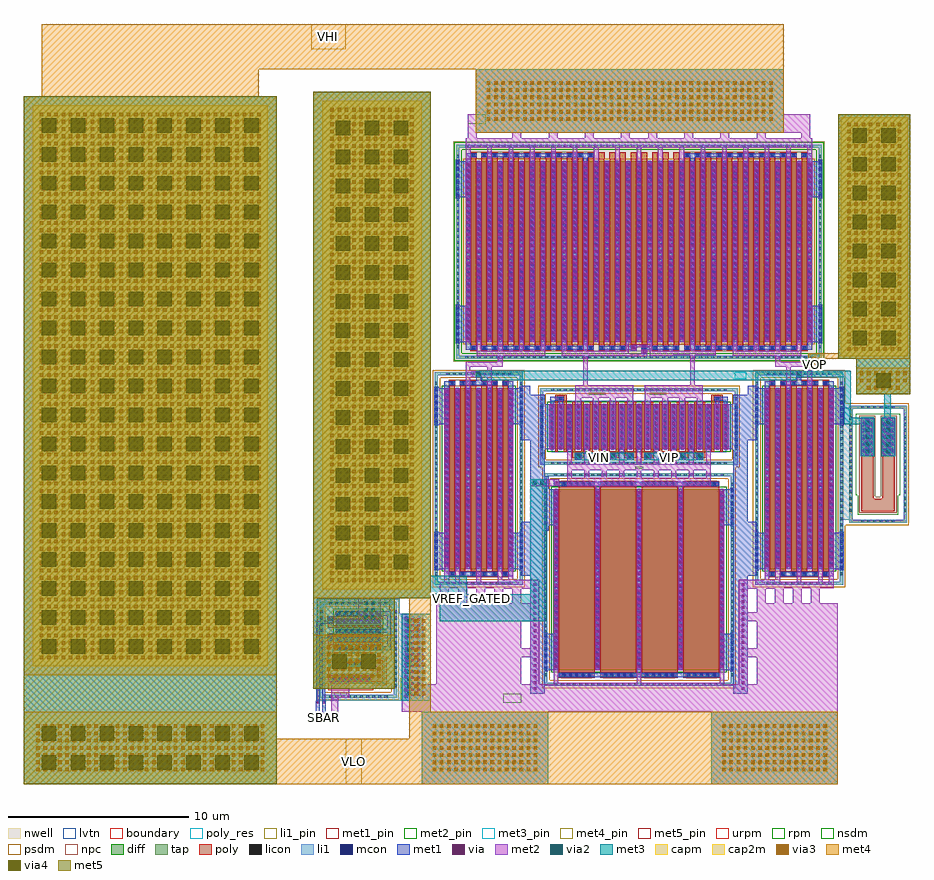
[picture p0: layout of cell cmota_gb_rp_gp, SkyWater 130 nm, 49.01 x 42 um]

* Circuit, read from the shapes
.subckt cmota_gb_rp_gp S SBAR VHI VIN VIP VLO VOP VREF VREF_GATED
XM1 VLO SBAR n1 VLO sky130_fd_pr__nfet_01v8 w=2.5 l=0.15 m=2
XM2 VREF_GATED S n1 VLO sky130_fd_pr__nfet_01v8 w=2.5 l=0.15 m=2
XM3 VLO VLO VLO VLO sky130_fd_pr__nfet_01v8 w=10 l=0.3 m=4
XM4 cmota_gb_rp_1/VMN cmota_gb_rp_1/VMN VLO VLO sky130_fd_pr__nfet_01v8 w=10 l=0.3 m=4
XM5 VLO VLO VLO VLO sky130_fd_pr__nfet_01v8_lvt w=2.5 l=0.15 m=2
XM6 cmota_gb_rp_1/COM VREF_GATED VLO VLO sky130_fd_pr__nfet_01v8 w=10 l=2 m=4
XM7 cmota_gb_rp_1/COM VLO VLO VLO sky130_fd_pr__nfet_01v8_lvt w=2.5 l=0.15 m=2
XM8 cmota_gb_rp_1/DN VIN cmota_gb_rp_1/COM VLO sky130_fd_pr__nfet_01v8_lvt w=2.5 l=0.15 m=8
XM9 cmota_gb_rp_1/DP VIP cmota_gb_rp_1/COM VLO sky130_fd_pr__nfet_01v8_lvt w=2.5 l=0.15 m=8
XM10 VOP cmota_gb_rp_1/VMN VLO VLO sky130_fd_pr__nfet_01v8 w=10 l=0.3 m=4
XM11 cmota_gb_rp_1/VMN VHI VHI VHI sky130_fd_pr__pfet_01v8 w=10 l=0.3
XM12 VHI cmota_gb_rp_1/DN cmota_gb_rp_1/VMN VHI sky130_fd_pr__pfet_01v8 w=10 l=0.3 m=7
XM13 cmota_gb_rp_1/DN cmota_gb_rp_1/DN VHI VHI sky130_fd_pr__pfet_01v8 w=10 l=0.3 m=4
XM14 n2 cmota_gb_rp_1/DP VHI VHI sky130_fd_pr__pfet_01v8 w=10 l=0.3 m=2
XM15 cmota_gb_rp_1/DN cmota_gb_rp_1/DP VHI VHI sky130_fd_pr__pfet_01v8 w=10 l=0.3 m=2
XM16 cmota_gb_rp_1/DP cmota_gb_rp_1/DN VHI VHI sky130_fd_pr__pfet_01v8 w=10 l=0.3 m=2
XM17 n3 cmota_gb_rp_1/DN VHI VHI sky130_fd_pr__pfet_01v8 w=10 l=0.3 m=2
XM18 cmota_gb_rp_1/DP cmota_gb_rp_1/DP VHI VHI sky130_fd_pr__pfet_01v8 w=10 l=0.3 m=4
XM19 VOP cmota_gb_rp_1/DP VHI VHI sky130_fd_pr__pfet_01v8 w=10 l=0.3 m=7
XM20 VHI VHI VOP VHI sky130_fd_pr__pfet_01v8 w=10 l=0.3
XC21 VHI VLO sky130_fd_pr__cap_mim_m3_1 w=13 l=31
XC22 VLO VHI sky130_fd_pr__cap_mim_m3_2 w=13 l=31
XC23 VLO VREF_GATED sky130_fd_pr__cap_mim_m3_1 w=5.5 l=27
XC24 VREF_GATED VLO sky130_fd_pr__cap_mim_m3_2 w=5.5 l=27
XC25 VOP n4 sky130_fd_pr__cap_mim_m3_1 w=3.7 l=13.2
XC26 n4 VOP sky130_fd_pr__cap_mim_m3_2 w=3.7 l=13.2
XR27 VREF n1 VLO sky130_fd_pr__res_xhigh_po w=0.35 l=1.84
XR28 cmota_gb_rp_1/VMN n4 VLO sky130_fd_pr__res_high_po w=0.69 l=6.52
.ends

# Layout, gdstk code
from math import pi, radians
import gdstk
lib = gdstk.Library(unit=1e-6, precision=1e-09)
def R(c, l, rs):  # rectangles x0, y0, x1, y1
    for r in rs: c.add(gdstk.rectangle(r[:2], r[2:], *l))
def A(c, l, x, y, w, h, nx, ny, dx, dy):  # array of equal rectangles
    R(c, l, [(x+i*dx, y+j*dy, x+i*dx+w, y+j*dy+h) for i in range(nx) for j in range(ny)])
nwell = (64, 20)
diff = (65, 20)
tap = (65, 44)
poly_res = (66, 13)
poly = (66, 20)
licon = (66, 44)
li1_pin = (67, 16)
li1 = (67, 20)
mcon = (67, 44)
met1_pin = (68, 16)
met1 = (68, 20)
via = (68, 44)
met2_pin = (69, 16)
met2 = (69, 20)
via2 = (69, 44)
met3_pin = (70, 16)
met3 = (70, 20)
via3 = (70, 44)
met4_pin = (71, 16)
met4 = (71, 20)
via4 = (71, 44)
met5_pin = (72, 16)
met5 = (72, 20)
urpm = (79, 20)
rpm = (86, 20)
capm = (89, 44)
nsdm = (93, 44)
psdm = (94, 20)
npc = (95, 20)
cap2m = (97, 44)
lvtn = (125, 44)
boundary = (235, 4)

gated_iref = lib.new_cell('gated_iref')
R(gated_iref, diff, [(8.1,0.75,10.31,3.25)])
R(gated_iref, tap, [(5.51,-0.12,10.82,0.05), (5.51,0.05,5.68,3.95), (10.65,0.05,10.82,3.95), (5.51,3.95,10.82,4.12)])
R(gated_iref, poly_res, [(6.39,2.63,6.74,3.02), (7.22,2.63,7.57,3.02), (6.39,3.02,7.57,3.37)])
A(gated_iref, poly, 8.41, 0.64, 0.15, 2.74, 4, 1, 0.48, 0)
R(gated_iref, poly, [(8.41,0.31,9.04,0.64), (9.37,0.31,10,0.64), (6.39,0.53,6.74,3.02), (7.22,0.53,7.57,3.02), (6.39,3.02,7.57,3.37)])
A(gated_iref, licon, 6.09, -0.12, 0.17, 0.17, 13, 2, 0.34, 4.07)
A(gated_iref, licon, 5.51, 0.385, 0.17, 0.17, 1, 10, 0, 0.34)
A(gated_iref, licon, 10.65, 0.385, 0.17, 0.17, 1, 10, 0, 0.34)
A(gated_iref, licon, 8.16, 0.895, 0.17, 0.17, 5, 7, 0.48, 0.34)
R(gated_iref, licon, [(8.79,0.39,8.96,0.56), (9.75,0.39,9.92,0.56), (6.47,0.61,6.66,2.61), (7.3,0.61,7.49,2.61)])
R(gated_iref, li1_pin, [(5.34,4.31,6.62,4.4)])
A(gated_iref, li1, 9.12, 0.73, 0.17, 2.54, 3, 1, 0.48, 0)
R(gated_iref, li1, [(5.34,-0.29,10.99,0.05), (5.34,0.05,5.68,3.95), (10.65,0.05,10.99,3.95), (6.39,0.335,6.74,2.69), (7.22,0.335,8.33,0.59), (8.71,0.39,9.04,0.56), (9.67,0.39,10,0.56), (7.22,0.59,7.57,2.69), (8.16,0.59,8.33,3.27), (8.64,0.73,8.81,3.95), (5.34,3.95,10.99,4.29), (5.34,4.29,10.14,4.9)])
A(gated_iref, mcon, 6.48, 0.545, 0.17, 0.17, 1, 6, 0, 0.36)
A(gated_iref, mcon, 8.16, 0.835, 0.17, 0.17, 5, 7, 0.48, 0.36)
A(gated_iref, mcon, 5.495, 4.565, 0.17, 0.17, 13, 1, 0.36, 0)
R(gated_iref, mcon, [(8.79,0.39,8.96,0.56), (9.75,0.39,9.92,0.56)])
R(gated_iref, met1_pin, [(5.2,-0.31,5.32,-0.15), (5.2,0,5.32,0.16)])
A(gated_iref, met1, 8.13, 0.75, 0.23, 2.84, 3, 1, 0.96, 0)
R(gated_iref, met1, [(5.195,-0.315,9.77,-0.145), (9.6,-0.145,9.77,0.36), (5.19,-0.005,8.81,0.165), (8.64,0.165,8.81,0.36), (6.39,0.335,6.74,2.69), (8.64,0.36,9.04,0.59), (9.6,0.36,10,0.59), (9.555,0.745,9.815,3.25), (8.61,0.75,8.84,3.25), (8.13,3.59,10.28,3.79), (5.34,4.4,10.14,5.6)])
A(gated_iref, via, 6.49, 0.645, 0.15, 0.15, 1, 6, 0, 0.32)
A(gated_iref, via, 9.61, 0.965, 0.15, 0.15, 1, 7, 0, 0.32)
A(gated_iref, via, 5.585, 4.605, 0.15, 0.15, 14, 3, 0.32, 0.32)
R(gated_iref, met2_pin, [(5.5,0.5,5.79,1.5)])
R(gated_iref, met2, [(6.39,0.335,6.74,0.5), (5.5,0.5,6.74,1.5), (9.555,0.745,9.815,2), (6.39,1.5,6.74,2.69), (9.555,2,10.995,3.25), (5.34,4.4,10.14,5.6)])
A(gated_iref, via2, 9.85, 2.325, 0.2, 0.2, 3, 2, 0.4, 0.4)
A(gated_iref, via2, 5.64, 4.7, 0.2, 0.2, 11, 2, 0.4, 0.4)
R(gated_iref, met3, [(6,-0.5,39,4), (11,4,39,6), (5.34,4.4,10.14,6)])
A(gated_iref, via3, 6.6, 0.25, 0.2, 0.2, 5, 8, 0.4, 0.4)
A(gated_iref, via3, 11.9, 0.45, 0.2, 0.2, 66, 12, 0.4, 0.4)
A(gated_iref, via3, 5.64, 5.1, 0.2, 0.2, 11, 2, 0.4, 0.4)
R(gated_iref, met4, [(6,-0.5,9,4), (11,-0.5,39,4.8), (5.34,4.8,39,6)])
A(gated_iref, via4, 12.6, 0.75, 0.8, 0.8, 16, 3, 1.6, 1.6)
R(gated_iref, via4, [(7.1,0.55,7.9,1.35), (7.1,2.15,7.9,2.95)])
R(gated_iref, met5_pin, [(10.35,3.7,10.99,3.99)])
R(gated_iref, met5, [(6,-0.5,39,4), (11,4,39,6)])
R(gated_iref, urpm, [(5.93,0.33,8.03,2.82), (6.19,2.82,7.77,3.57)])
R(gated_iref, capm, [(11.5,0,38.5,5.5)])
R(gated_iref, nsdm, [(7.975,0.625,10.435,3.375)])
R(gated_iref, psdm, [(5.385,-0.245,10.945,0.175), (5.385,0.175,5.805,3.825), (6.28,0.175,7.68,3.825), (10.525,0.175,10.945,3.825), (5.385,3.825,10.945,4.245)])
R(gated_iref, npc, [(8.69,0.29,9.06,0.66), (9.65,0.29,10.02,0.66), (6.295,0.435,6.835,2.925), (7.125,0.435,7.665,2.925), (6.295,2.925,7.665,3.465)])
R(gated_iref, cap2m, [(11.5,0,38.5,5.5)])
gated_iref.add(gdstk.Label('IN', (5.645,1), layer=69, texttype=16))
gated_iref.add(gdstk.Label('VSUB', (5.98,4.355), layer=67, texttype=16))
gated_iref.add(gdstk.Label('OUT', (10.67,3.845), layer=72, texttype=16))
gated_iref.add(gdstk.Label('SBAR', (5.26,0.08), layer=68, texttype=16))
gated_iref.add(gdstk.Label('S', (5.26,-0.23), layer=68, texttype=16))

sky130_fd_pr__res_high_p = lib.new_cell('sky130_fd_pr__res_high_po_0p69_G8QCSG')
R(sky130_fd_pr__res_high_p, tap, [(-1.58,-3.24,1.58,-3.07), (-1.58,-3.07,-1.41,3.07), (1.41,-3.07,1.58,3.07), (-1.58,3.07,1.58,3.24)])
R(sky130_fd_pr__res_high_p, poly_res, [(-0.93,-0.49,-0.24,1.9), (0.24,-0.49,0.93,1.9), (-0.93,1.9,0.93,2.59)])
R(sky130_fd_pr__res_high_p, poly, [(-0.93,-2.59,-0.24,1.9), (0.24,-2.59,0.93,1.9), (-0.93,1.9,0.93,2.59)])
A(sky130_fd_pr__res_high_p, licon, -0.935, -3.24, 0.17, 0.17, 6, 2, 0.34, 6.31)
A(sky130_fd_pr__res_high_p, licon, -1.58, -2.635, 0.17, 0.17, 1, 16, 0, 0.34)
A(sky130_fd_pr__res_high_p, licon, 1.41, -2.635, 0.17, 0.17, 1, 16, 0, 0.34)
R(sky130_fd_pr__res_high_p, licon, [(-0.68,-2.51,-0.49,-0.51), (0.49,-2.51,0.68,-0.51)])
R(sky130_fd_pr__res_high_p, li1, [(-1.58,-3.24,1.58,-3.07), (-1.58,-3.07,-1.41,3.07), (1.41,-3.07,1.58,3.07), (-0.93,-2.59,-0.24,-0.43), (0.24,-2.59,0.93,-0.43), (-1.58,3.07,1.58,3.24)])
R(sky130_fd_pr__res_high_p, rpm, [(-1.22,-2.79,1.22,1.7), (-1.13,1.7,1.13,2.79)])
R(sky130_fd_pr__res_high_p, psdm, [(-1.705,-3.365,1.705,3.365)])
R(sky130_fd_pr__res_high_p, npc, [(-1.025,-2.685,-0.145,1.805), (0.145,-2.685,1.025,1.805), (-1.025,1.805,1.025,2.685)])
R(sky130_fd_pr__res_high_p, boundary, [(-1.49,-3.15,1.49,3.15)])

cmota_gb_rp = lib.new_cell('cmota_gb_rp')
R(cmota_gb_rp, nwell, [(2.725,0.33,23.275,12.52)])
R(cmota_gb_rp, diff, [(8.275,-16.7,17.725,-6.7), (2.23,-11.12,6.06,-1.12), (19.935,-11.12,23.765,-1.12), (8.055,-4.5,17.945,-2), (3.415,1.425,22.585,11.425)])
R(cmota_gb_rp, tap, [(7.765,-17.57,18.235,-17.4), (7.765,-17.4,7.935,-6), (18.065,-17.4,18.235,-6), (1.72,-11.99,6.57,-11.82), (19.425,-11.99,24.275,-11.82), (1.72,-11.82,1.89,-0.42), (6.4,-11.82,6.57,-0.42), (19.425,-11.82,19.595,-0.42), (24.105,-11.82,24.275,-0.42), (7.765,-6,18.235,-5.83), (7.545,-5.37,18.455,-5.2), (7.545,-5.2,7.715,-1.3), (18.285,-5.2,18.455,-1.3), (7.545,-1.3,18.455,-1.13), (1.72,-0.42,6.57,-0.25), (19.425,-0.42,24.275,-0.25), (2.905,0.51,23.095,0.68), (2.905,0.68,3.075,12.17), (22.925,0.68,23.095,12.17), (2.905,12.17,23.095,12.34)])
A(cmota_gb_rp, poly, 8.565, -17.14, 2, 10.88, 4, 1, 2.29, 0)
A(cmota_gb_rp, poly, 2.505, -11.56, 0.33, 0.33, 6, 2, 0.59, 10.55)
A(cmota_gb_rp, poly, 20.21, -11.56, 0.33, 0.33, 6, 2, 0.59, 10.55)
A(cmota_gb_rp, poly, 2.52, -11.23, 0.3, 10.22, 6, 1, 0.59, 0)
A(cmota_gb_rp, poly, 20.225, -11.23, 0.3, 10.22, 6, 1, 0.59, 0)
A(cmota_gb_rp, poly, 9.325, -5, 0.63, 0.39, 8, 1, 0.96, 0)
A(cmota_gb_rp, poly, 9.325, -4.61, 0.15, 2.74, 16, 1, 0.48, 0)
A(cmota_gb_rp, poly, 3.69, 0.94, 0.33, 0.33, 32, 2, 0.59, 10.64)
A(cmota_gb_rp, poly, 3.705, 1.27, 0.3, 10.31, 32, 1, 0.59, 0)
R(cmota_gb_rp, poly, [(8.365,-4.63,8.515,-1.87), (8.845,-4.63,8.995,-1.87), (17.005,-4.63,17.155,-1.87), (17.485,-4.63,17.635,-1.87), (8.365,-1.87,8.995,-1.48), (17.005,-1.87,17.635,-1.48)])
A(cmota_gb_rp, licon, 8.325, -17.57, 0.17, 0.17, 28, 2, 0.34, 11.57)
A(cmota_gb_rp, licon, 8.8, -17.06, 0.17, 0.17, 5, 2, 0.34, 10.55)
A(cmota_gb_rp, licon, 11.09, -17.06, 0.17, 0.17, 5, 2, 0.34, 10.55)
A(cmota_gb_rp, licon, 13.38, -17.06, 0.17, 0.17, 5, 2, 0.34, 10.55)
A(cmota_gb_rp, licon, 15.67, -17.06, 0.17, 0.17, 5, 2, 0.34, 10.55)
A(cmota_gb_rp, licon, 7.765, -17.055, 0.17, 0.17, 1, 32, 0, 0.34)
A(cmota_gb_rp, licon, 18.065, -17.055, 0.17, 0.17, 1, 32, 0, 0.34)
A(cmota_gb_rp, licon, 8.335, -16.545, 0.17, 0.17, 5, 29, 2.29, 0.34)
A(cmota_gb_rp, licon, 2.36, -11.99, 0.17, 0.17, 11, 2, 0.34, 11.57)
A(cmota_gb_rp, licon, 20.065, -11.99, 0.17, 0.17, 11, 2, 0.34, 11.57)
A(cmota_gb_rp, licon, 2.585, -11.48, 0.17, 0.17, 6, 2, 0.59, 10.55)
A(cmota_gb_rp, licon, 20.29, -11.48, 0.17, 0.17, 6, 2, 0.59, 10.55)
A(cmota_gb_rp, licon, 1.72, -11.475, 0.17, 0.17, 1, 32, 0, 0.34)
A(cmota_gb_rp, licon, 6.4, -11.475, 0.17, 0.17, 1, 32, 0, 0.34)
A(cmota_gb_rp, licon, 19.425, -11.475, 0.17, 0.17, 1, 32, 0, 0.34)
A(cmota_gb_rp, licon, 24.105, -11.475, 0.17, 0.17, 1, 32, 0, 0.34)
A(cmota_gb_rp, licon, 2.29, -10.965, 0.17, 0.17, 7, 29, 0.59, 0.34)
A(cmota_gb_rp, licon, 19.995, -10.965, 0.17, 0.17, 7, 29, 0.59, 0.34)
A(cmota_gb_rp, licon, 8.155, -5.37, 0.17, 0.17, 29, 2, 0.34, 4.07)
A(cmota_gb_rp, licon, 9.555, -4.92, 0.17, 0.17, 8, 1, 0.96, 0)
A(cmota_gb_rp, licon, 7.545, -4.865, 0.17, 0.17, 1, 10, 0, 0.34)
A(cmota_gb_rp, licon, 18.285, -4.865, 0.17, 0.17, 1, 10, 0, 0.34)
A(cmota_gb_rp, licon, 8.115, -4.355, 0.17, 0.17, 21, 7, 0.48, 0.34)
A(cmota_gb_rp, licon, 3.395, 0.51, 0.17, 0.17, 57, 2, 0.34, 11.66)
A(cmota_gb_rp, licon, 3.77, 1.02, 0.17, 0.17, 32, 1, 0.59, 0)
A(cmota_gb_rp, licon, 2.905, 1.07, 0.17, 0.17, 1, 32, 0, 0.34)
A(cmota_gb_rp, licon, 22.925, 1.07, 0.17, 0.17, 1, 32, 0, 0.34)
A(cmota_gb_rp, licon, 3.475, 1.58, 0.17, 0.17, 33, 29, 0.59, 0.34)
A(cmota_gb_rp, licon, 3.77, 11.66, 0.17, 0.17, 12, 1, 0.59, 0)
A(cmota_gb_rp, licon, 15.57, 11.66, 0.17, 0.17, 12, 1, 0.59, 0)
R(cmota_gb_rp, licon, [(8.595,-1.79,8.765,-1.62), (17.235,-1.79,17.405,-1.62)])
A(cmota_gb_rp, li1, 8.565, -17.06, 2, 0.17, 4, 2, 2.29, 10.55)
A(cmota_gb_rp, li1, 8.335, -16.72, 0.17, 10.04, 5, 1, 2.29, 0)
A(cmota_gb_rp, li1, 2.505, -11.48, 0.33, 0.17, 6, 2, 0.59, 10.55)
A(cmota_gb_rp, li1, 20.21, -11.48, 0.33, 0.17, 6, 2, 0.59, 10.55)
A(cmota_gb_rp, li1, 2.29, -11.14, 0.17, 10.04, 7, 1, 0.59, 0)
A(cmota_gb_rp, li1, 19.995, -11.14, 0.17, 10.04, 7, 1, 0.59, 0)
A(cmota_gb_rp, li1, 9.475, -4.92, 0.33, 0.17, 8, 1, 0.96, 0)
A(cmota_gb_rp, li1, 8.115, -4.52, 0.17, 2.54, 21, 1, 0.48, 0)
A(cmota_gb_rp, li1, 3.69, 1.02, 0.33, 0.17, 32, 1, 0.59, 0)
A(cmota_gb_rp, li1, 3.475, 1.405, 0.17, 10.04, 33, 1, 0.59, 0)
A(cmota_gb_rp, li1, 3.69, 11.66, 0.33, 0.17, 12, 1, 0.59, 0)
A(cmota_gb_rp, li1, 15.49, 11.66, 0.33, 0.17, 12, 1, 0.59, 0)
R(cmota_gb_rp, li1, [(7.765,-17.57,18.235,-17.4), (7.765,-17.4,7.935,-6), (18.065,-17.4,18.235,-6), (1.72,-11.99,6.57,-11.82), (19.425,-11.99,24.275,-11.82), (1.72,-11.82,1.89,-0.42), (6.4,-11.82,6.57,-0.42), (19.425,-11.82,19.595,-0.42), (24.105,-11.82,24.275,-8.4), (24.105,-8.4,24.7,-2.2), (7.765,-6,18.235,-5.83), (7.545,-5.37,18.455,-5.2), (7.545,-5.2,7.715,-1.3), (18.285,-5.2,18.455,-1.3), (25.35,-4.8,25.9,-2.85), (26.5,-4.8,27.05,-2.85), (24.105,-2.2,24.275,-0.42), (8.515,-1.79,8.845,-1.62), (17.155,-1.79,17.485,-1.62), (7.545,-1.3,18.455,-1.13), (1.72,-0.42,6.57,-0.25), (19.425,-0.42,24.275,-0.25), (2.905,0.51,23.095,0.68), (2.905,0.68,3.075,12.17), (22.925,0.68,23.095,12.17), (2.905,12.17,23.095,12.34)])
A(cmota_gb_rp, mcon, 8.76, -17.06, 0.17, 0.17, 5, 2, 0.36, 10.55)
A(cmota_gb_rp, mcon, 11.05, -17.06, 0.17, 0.17, 5, 2, 0.36, 10.55)
A(cmota_gb_rp, mcon, 13.34, -17.06, 0.17, 0.17, 5, 2, 0.36, 10.55)
A(cmota_gb_rp, mcon, 15.63, -17.06, 0.17, 0.17, 5, 2, 0.36, 10.55)
A(cmota_gb_rp, mcon, 7.765, -16.685, 0.17, 0.17, 1, 6, 0, 0.36)
A(cmota_gb_rp, mcon, 18.065, -16.685, 0.17, 0.17, 1, 6, 0, 0.36)
A(cmota_gb_rp, mcon, 8.335, -16.465, 0.17, 0.17, 5, 27, 2.29, 0.36)
A(cmota_gb_rp, mcon, 2.585, -11.48, 0.17, 0.17, 6, 2, 0.59, 10.55)
A(cmota_gb_rp, mcon, 20.29, -11.48, 0.17, 0.17, 6, 2, 0.59, 10.55)
A(cmota_gb_rp, mcon, 1.72, -11.105, 0.17, 0.17, 1, 6, 0, 0.36)
A(cmota_gb_rp, mcon, 6.4, -11.105, 0.17, 0.17, 1, 6, 0, 0.36)
A(cmota_gb_rp, mcon, 19.425, -11.105, 0.17, 0.17, 1, 6, 0, 0.36)
A(cmota_gb_rp, mcon, 24.105, -11.105, 0.17, 0.17, 1, 6, 0, 0.36)
A(cmota_gb_rp, mcon, 2.29, -10.885, 0.17, 0.17, 7, 27, 0.59, 0.36)
A(cmota_gb_rp, mcon, 19.995, -10.885, 0.17, 0.17, 7, 27, 0.59, 0.36)
A(cmota_gb_rp, mcon, 7.765, -8.685, 0.17, 0.17, 1, 6, 0, 0.36)
A(cmota_gb_rp, mcon, 18.065, -8.685, 0.17, 0.17, 1, 6, 0, 0.36)
A(cmota_gb_rp, mcon, 9.555, -4.92, 0.17, 0.17, 8, 1, 0.96, 0)
A(cmota_gb_rp, mcon, 25.36, -4.63, 0.17, 0.17, 1, 5, 0, 0.36)
A(cmota_gb_rp, mcon, 25.72, -4.63, 0.17, 0.17, 1, 5, 0, 0.36)
A(cmota_gb_rp, mcon, 26.51, -4.63, 0.17, 0.17, 1, 5, 0, 0.36)
A(cmota_gb_rp, mcon, 26.87, -4.63, 0.17, 0.17, 1, 5, 0, 0.36)
A(cmota_gb_rp, mcon, 7.545, -4.415, 0.17, 0.17, 1, 7, 0, 0.36)
A(cmota_gb_rp, mcon, 8.115, -4.415, 0.17, 0.17, 21, 7, 0.48, 0.36)
A(cmota_gb_rp, mcon, 18.285, -4.415, 0.17, 0.17, 1, 7, 0, 0.36)
A(cmota_gb_rp, mcon, 1.72, -3.105, 0.17, 0.17, 1, 6, 0, 0.36)
A(cmota_gb_rp, mcon, 6.4, -3.105, 0.17, 0.17, 1, 6, 0, 0.36)
A(cmota_gb_rp, mcon, 19.425, -3.105, 0.17, 0.17, 1, 6, 0, 0.36)
A(cmota_gb_rp, mcon, 24.105, -3.105, 0.17, 0.17, 1, 6, 0, 0.36)
A(cmota_gb_rp, mcon, 3.77, 1.02, 0.17, 0.17, 32, 1, 0.59, 0)
A(cmota_gb_rp, mcon, 2.905, 1.44, 0.17, 0.17, 1, 6, 0, 0.36)
A(cmota_gb_rp, mcon, 22.925, 1.44, 0.17, 0.17, 1, 6, 0, 0.36)
A(cmota_gb_rp, mcon, 3.475, 1.66, 0.17, 0.17, 33, 27, 0.59, 0.36)
A(cmota_gb_rp, mcon, 2.905, 9.44, 0.17, 0.17, 1, 6, 0, 0.36)
A(cmota_gb_rp, mcon, 22.925, 9.44, 0.17, 0.17, 1, 6, 0, 0.36)
A(cmota_gb_rp, mcon, 3.77, 11.66, 0.17, 0.17, 12, 1, 0.59, 0)
A(cmota_gb_rp, mcon, 15.57, 11.66, 0.17, 0.17, 12, 1, 0.59, 0)
R(cmota_gb_rp, mcon, [(8.595,-1.79,8.765,-1.62), (17.235,-1.79,17.405,-1.62)])
R(cmota_gb_rp, met1_pin, [(8.36,-6.54,8.485,-6.31)])
A(cmota_gb_rp, met1, 10.58, -16.7, 0.26, 10, 3, 1, 2.29, 0)
A(cmota_gb_rp, met1, 2.835, -11.12, 0.26, 10, 5, 1, 0.59, 0)
A(cmota_gb_rp, met1, 20.54, -11.12, 0.26, 10, 5, 1, 0.59, 0)
A(cmota_gb_rp, met1, 9.445, -5, 0.39, 0.28, 8, 1, 0.96, 0)
A(cmota_gb_rp, met1, 8.515, -4.5, 0.33, 2.5, 19, 1, 0.48, 0)
A(cmota_gb_rp, met1, 4.61, 1.425, 0.26, 10, 9, 1, 0.59, 0)
A(cmota_gb_rp, met1, 11.69, 1.425, 0.26, 10, 5, 1, 0.59, 0)
A(cmota_gb_rp, met1, 16.41, 1.425, 0.26, 10, 10, 1, 0.59, 0)
R(cmota_gb_rp, met1, [(7,-18,7.8,-16.76), (18.2,-18,19,-16.76), (8.585,-17.09,17.415,-16.86), (7,-16.76,7.965,-16.7), (18.035,-16.76,19,-16.7), (7,-16.7,8.55,-14.7), (17.45,-16.7,19,-14.7), (7,-14.7,7.965,-14.64), (8.29,-14.7,8.55,-8.7), (17.45,-14.7,17.71,-8.7), (18.035,-14.7,19,-14.64), (7,-14.64,7.8,-11.5), (18.2,-14.64,19,-11.5), (2.245,-11.51,2.835,-11.28), (3.095,-11.51,5.175,-11.28), (5.475,-11.51,6.045,-11.28), (19.95,-11.51,20.52,-11.28), (20.82,-11.51,22.9,-11.28), (23.18,-11.51,23.75,-11.28), (6.5,-11.5,7.8,-11.18), (18.2,-11.5,19.5,-11.18), (2.245,-11.28,2.505,-11.12), (5.785,-11.28,6.045,-11.12), (19.95,-11.28,20.21,-11.12), (23.49,-11.28,23.75,-11.12), (1.69,-11.18,1.92,-11.12), (6.37,-11.18,7.8,-11.12), (18.2,-11.18,19.625,-11.12), (24.075,-11.18,24.305,-11.12), (1.69,-11.12,2.505,-9.12), (5.785,-11.12,7.8,-9.12), (18.2,-11.12,20.21,-9.12), (23.49,-11.12,24.305,-9.12), (1.69,-9.12,1.92,-9.06), (2.245,-9.12,2.505,-3.12), (5.785,-9.12,6.045,-3.12), (6.37,-9.12,7.8,-9.06), (18.2,-9.12,19.625,-9.06), (19.95,-9.12,20.21,-3.12), (23.49,-9.12,23.75,-3.12), (24.075,-9.12,24.305,-9.06), (6.5,-9.06,7.8,-9), (18.2,-9.06,19.5,-8.76), (6.5,-9,8,-8.7), (18.035,-8.76,19.5,-8.7), (6.5,-8.7,8.55,-8.5), (17.45,-8.7,19.5,-8.5), (7,-8.5,8.55,-6.7), (17.45,-8.5,19,-6.7), (7,-6.7,8,-6), (18.035,-6.7,19,-6.64), (18.2,-6.64,19,-4.5), (8.36,-6.54,17.415,-6.31), (7,-6,7.8,-4.5), (25.25,-4.9,26,-2.75), (26.4,-4.9,27.15,-2.75), (7,-4.5,8.365,-4), (17.635,-4.5,19,-4), (6.5,-4,8.365,-3.18), (17.635,-4,19.5,-3.18), (1.69,-3.18,1.92,-3.12), (6.37,-3.18,8.365,-3.12), (17.635,-3.18,19.625,-3.12), (24.075,-3.18,24.305,-3.12), (1.69,-3.12,2.505,-1.12), (5.785,-3.12,8.365,-2), (17.635,-3.12,20.21,-2), (23.49,-3.12,24.305,-1.12), (5.785,-2,7.8,-1.5), (8.085,-2,8.315,-1.82), (8.565,-2,8.795,-1.82), (17.205,-2,17.435,-1.82), (17.685,-2,17.915,-1.82), (18.2,-2,20.21,-1.5), (8.085,-1.82,8.845,-1.59), (17.155,-1.82,17.915,-1.59), (5.785,-1.5,7,-1.12), (19,-1.5,20.21,-1.12), (1.69,-1.12,1.92,-1.06), (2.245,-1.12,2.505,-0.96), (5.785,-1.12,6.045,-0.96), (6.37,-1.12,7,-1.06), (19,-1.12,19.625,-1.06), (19.95,-1.12,20.21,-0.96), (23.49,-1.12,23.75,-0.96), (24.075,-1.12,24.305,-1.06), (6.5,-1.06,7,-1), (19,-1.06,19.5,-1), (2.245,-0.96,2.835,-0.73), (3.095,-0.96,5.175,-0.73), (5.475,-0.96,6.045,-0.73), (19.95,-0.96,20.52,-0.73), (20.82,-0.96,22.9,-0.73), (23.18,-0.96,23.75,-0.73), (4.015,-0.73,4.275,-0.18), (21.72,-0.73,21.98,-0.18), (13.125,0.74,13.445,0.99), (12.54,0.905,12.87,0.99), (3.43,0.99,4.02,1.22), (4.28,0.99,10.51,1.22), (10.77,0.99,12.87,1.22), (13.125,0.99,15.23,1), (15.49,0.99,21.72,1.22), (21.98,0.99,22.57,1.22), (13.15,1,15.23,1.22), (3.43,1.22,3.69,1.425), (9.92,1.22,10.18,11.63), (12.54,1.22,12.87,1.25), (15.82,1.22,16.08,11.63), (22.31,1.22,22.57,1.425), (2.875,1.365,3.105,1.425), (22.895,1.365,23.125,1.425), (4.02,1.42,4.28,11.425), (2.875,1.425,3.69,3.425), (10.51,1.425,10.77,11.425), (11.1,1.425,11.36,11.43), (14.64,1.425,14.9,11.43), (15.23,1.425,15.49,11.425), (22.31,1.425,23.125,3.425), (2.875,3.425,3.105,3.485), (3.43,3.425,3.69,9.425), (22.31,3.425,22.57,9.425), (22.895,3.425,23.125,3.485), (2.875,9.365,3.105,9.425), (22.895,9.365,23.125,9.425), (2.875,9.425,3.69,11.425), (22.31,9.425,23.125,11.425), (2.875,11.425,3.105,11.485), (3.43,11.425,3.69,11.63), (22.31,11.425,22.57,11.63), (22.895,11.425,23.125,11.485), (3.43,11.63,4.02,11.86), (4.28,11.63,10.51,11.86), (15.49,11.63,21.72,11.86), (21.98,11.63,22.57,11.86)])
A(cmota_gb_rp, via, 7.175, -17.805, 0.15, 0.15, 1, 19, 0, 0.32)
A(cmota_gb_rp, via, 18.675, -17.805, 0.15, 0.15, 1, 19, 0, 0.32)
A(cmota_gb_rp, via, 8.345, -16.575, 0.15, 0.15, 5, 31, 2.29, 0.32)
A(cmota_gb_rp, via, 2.3, -10.995, 0.15, 0.15, 7, 31, 0.59, 0.32)
A(cmota_gb_rp, via, 20.005, -10.995, 0.15, 0.15, 7, 31, 0.59, 0.32)
A(cmota_gb_rp, via, 9.565, -4.935, 0.15, 0.15, 8, 1, 0.96, 0)
A(cmota_gb_rp, via, 25.55, -4.7, 0.15, 0.15, 1, 6, 0, 0.32)
A(cmota_gb_rp, via, 26.7, -4.7, 0.15, 0.15, 1, 6, 0, 0.32)
A(cmota_gb_rp, via, 8.125, -4.445, 0.15, 0.15, 21, 8, 0.48, 0.32)
A(cmota_gb_rp, via, 3.485, 1.55, 0.15, 0.15, 33, 31, 0.59, 0.32)
R(cmota_gb_rp, via, [(4.07,-0.415,4.22,-0.265), (21.775,-0.415,21.925,-0.265), (13.21,0.795,13.36,0.945), (12.635,1.015,12.785,1.165)])
R(cmota_gb_rp, met2_pin, [(5.5,-18.5,6.5,-18), (12.79,-5.565,13.245,-5.475), (10.235,-1.5,11.145,-1.38), (13.585,-1.5,14.495,-1.38), (22.115,0.125,22.55,0.26), (3.54,13.5,4.54,14)])
A(cmota_gb_rp, met2, 8.29, -17.4, 0.26, 10.7, 3, 1, 4.58, 0)
A(cmota_gb_rp, met2, 2, -13, 0.5, 0.83, 3, 1, 1, 0)
A(cmota_gb_rp, met2, 5, -13, 0.5, 0.8, 3, 1, 1, 0)
A(cmota_gb_rp, met2, 9.025, -6.08, 0.27, 0.43, 9, 1, 0.96, 0)
A(cmota_gb_rp, met2, 9.025, -5.3, 0.27, 0.8, 9, 1, 0.96, 0)
A(cmota_gb_rp, met2, 9.475, -5.1, 0.33, 0.41, 8, 1, 0.96, 0)
A(cmota_gb_rp, met2, 8.035, -4.5, 0.33, 2.5, 3, 1, 0.48, 0)
A(cmota_gb_rp, met2, 9.475, -4.5, 0.33, 2.85, 8, 1, 0.96, 0)
A(cmota_gb_rp, met2, 9.955, -4.5, 0.33, 2.5, 8, 1, 0.96, 0)
A(cmota_gb_rp, met2, 4.02, 0.94, 0.26, 10.485, 6, 1, 1.18, 0)
A(cmota_gb_rp, met2, 18.175, 0.94, 0.26, 0.485, 3, 1, 1.18, 0)
A(cmota_gb_rp, met2, 3.43, 1.425, 0.26, 10.745, 8, 1, 1.18, 0)
A(cmota_gb_rp, met2, 14.05, 1.425, 0.26, 10.745, 8, 1, 1.18, 0)
A(cmota_gb_rp, met2, 16.995, 1.425, 0.265, 0.4, 4, 1, 1.18, 0)
A(cmota_gb_rp, met2, 17, 1.825, 0.26, 9.6, 5, 1, 1.18, 0)
A(cmota_gb_rp, met2, 6, 12.68, 0.5, 0.32, 4, 1, 2, 0)
A(cmota_gb_rp, met2, 13.5, 12.68, 0.5, 0.32, 4, 1, 2, 0)
R(cmota_gb_rp, met2, [(5.5,-19,20.5,-17.5), (5.5,-17.5,6.5,-16), (7,-17.5,7.5,-16), (8.29,-17.5,17.71,-17.4), (18.5,-17.5,19,-16), (19.5,-17.5,20.5,-16), (10.58,-16.7,10.84,-6.54), (15.16,-16.7,15.42,-6.54), (5.5,-16,7.5,-15.5), (18.5,-16,20.5,-15.5), (5.5,-15.5,6.5,-14), (7,-15.5,7.5,-14), (18.5,-15.5,19,-14), (19.5,-15.5,20.5,-14), (2,-14,7.5,-13), (18.5,-14,23.64,-13.5), (18.5,-13.5,19,-12.2), (19.5,-13.5,23.64,-13), (19.5,-13,20,-12.2), (20.5,-13,21,-12.2), (21.5,-13,22,-12.17), (22.5,-13,23,-12.17), (5,-12.2,7.5,-12.17), (18.5,-12.2,21,-12.17), (2,-12.17,7.5,-11.82), (18.5,-12.17,23.75,-11.82), (2.245,-11.82,2.505,-1.12), (2.835,-11.82,3.095,-1.12), (4.015,-11.82,4.275,-1.12), (5.195,-11.82,7.5,-11.7), (18.5,-11.82,20.8,-11.7), (21.72,-11.82,21.98,-1.12), (22.9,-11.82,23.16,-1.12), (23.49,-11.82,23.75,-1.12), (5.195,-11.7,5.455,-1.12), (5.785,-11.7,6.045,-1.12), (19.95,-11.7,20.21,-1.12), (20.54,-11.7,20.8,-1.12), (3.425,-11.12,3.685,-0.525), (4.605,-11.12,4.865,-0.525), (21.13,-11.12,21.39,0.07), (22.31,-11.12,22.57,0.07), (9.025,-6.54,16.975,-6.08), (9.025,-5.65,16.975,-5.3), (25.25,-4.9,26,-2.75), (26.4,-4.9,27.15,-2.75), (17.155,-4.5,17.485,-2), (17.635,-4.5,17.965,-2), (9.475,-1.65,12.685,-0.95), (13.315,-1.65,16.525,-0.95), (9.92,-0.95,10.18,0.68), (15.82,-0.95,16.08,0.685), (3.425,-0.525,4.865,-0.155), (21.695,-0.525,22,-0.155), (3.425,-0.155,3.685,0.07), (4.605,-0.155,4.865,0.07), (3.425,0.07,5.46,0.33), (20.535,0.07,22.57,0.2), (20.535,0.2,23,0.33), (5.2,0.33,5.46,0.68), (20.535,0.33,20.795,0.68), (22.35,0.33,23,0.75), (12.28,0.65,13.445,0.68), (4.02,0.68,7.82,0.94), (8.74,0.68,13.445,0.79), (13.585,0.68,14.9,0.69), (18.175,0.68,21.98,0.94), (15.82,0.685,17.255,0.69), (13.585,0.69,17.255,0.94), (8.74,0.79,12.44,0.94), (13.125,0.79,13.445,1), (12.58,0.93,12.84,1.14), (12.28,0.94,12.44,1.39), (13.585,0.94,13.73,1.14), (14.9,0.94,17.255,0.945), (21.715,0.94,21.98,1.825), (14.9,0.945,16.08,0.95), (16.995,0.945,17.255,1.425), (15.82,0.95,16.08,11.425), (12.58,1.14,13.73,1.25), (12.7,1.25,13.73,1.28), (13.46,1.28,13.72,11.425), (12.28,1.39,12.54,11.425), (12.87,1.42,13.13,12.17), (11.1,1.425,11.36,11.425), (14.64,1.425,14.9,11.425), (3.43,12.17,22.57,12.68), (3.54,12.68,4.04,13), (21.96,12.68,22.46,13), (3.54,13,22.46,14)])
A(cmota_gb_rp, via2, 9.54, -4.99, 0.2, 0.2, 8, 1, 0.96, 0)
A(cmota_gb_rp, via2, 25.525, -4.725, 0.2, 0.2, 1, 5, 0, 0.4)
A(cmota_gb_rp, via2, 26.675, -4.725, 0.2, 0.2, 1, 5, 0, 0.4)
R(cmota_gb_rp, via2, [(4.045,-0.44,4.245,-0.24), (21.75,-0.44,21.95,-0.24), (22.575,0.375,22.775,0.575)])
R(cmota_gb_rp, met3_pin, [(9.5,-5.05,9.8,-4.75), (16.2,-5.05,16.5,-4.75), (18.305,-0.61,18.925,-0.235)])
R(cmota_gb_rp, met3, [(9.445,-5.1,12.715,-4.69), (13.285,-5.1,16.555,-4.69), (25.25,-4.9,26,-3.125), (26.4,-4.9,27.15,-2.75), (24.33,-3.125,26,-2.755), (24.33,-2.755,24.7,-0.525), (25.25,-2.755,26,-2.75), (26.55,-2.75,26.9,-1.45), (25,-1.45,28,0.5), (4.3,-0.68,21.695,-0.525), (3.965,-0.525,24.7,-0.155), (22.35,0.2,23,0.75), (24,0.5,28,14)])
A(cmota_gb_rp, via3, 25.6, -1.2, 0.2, 0.2, 5, 1, 0.4, 0)
A(cmota_gb_rp, via3, 25.2, -0.8, 0.2, 0.2, 7, 2, 0.4, 0.4)
A(cmota_gb_rp, via3, 24.5, 0.95, 0.2, 0.2, 8, 32, 0.4, 0.4)
R(cmota_gb_rp, via3, [(22.575,0.375,22.775,0.575)])
R(cmota_gb_rp, met4, [(25,-1.45,28,0), (22.35,0.2,23,0.5), (22.35,0.5,28,0.8), (24,0.8,28,14)])
A(cmota_gb_rp, via4, 24.8, 1.25, 0.8, 0.8, 1, 8, 0, 1.6)
A(cmota_gb_rp, via4, 26.4, 1.25, 0.8, 0.8, 1, 8, 0, 1.6)
R(cmota_gb_rp, via4, [(26.1,-1.1,26.9,-0.3)])
R(cmota_gb_rp, met5, [(25,-1.45,28,0.5), (24,0.5,28,14)])
R(cmota_gb_rp, capm, [(24.15,0.65,27.85,13.85)])
R(cmota_gb_rp, nsdm, [(8.15,-16.825,17.85,-6.575), (2.105,-11.245,6.185,-0.995), (19.81,-11.245,23.89,-0.995), (7.93,-4.625,18.07,-1.875), (2.78,0.385,23.22,0.805), (2.78,0.805,3.2,12.045), (22.8,0.805,23.22,12.045), (2.78,12.045,23.22,12.465)])
R(cmota_gb_rp, psdm, [(7.64,-17.695,18.36,-17.275), (7.64,-17.275,8.06,-6.125), (17.94,-17.275,18.36,-6.125), (1.595,-12.115,6.695,-11.695), (19.3,-12.115,24.4,-11.695), (1.595,-11.695,2.015,-0.545), (6.275,-11.695,6.695,-0.545), (19.3,-11.695,19.72,-0.545), (23.98,-11.695,24.4,-8.695), (23.98,-8.695,24.505,-1.965), (7.64,-6.125,18.36,-5.495), (7.42,-5.495,18.58,-5.075), (7.42,-5.075,7.84,-1.425), (18.16,-5.075,18.58,-1.425), (23.98,-1.965,24.4,-0.545), (7.42,-1.425,18.58,-1.005), (1.595,-0.545,6.695,-0.125), (19.3,-0.545,24.4,-0.125), (3.29,1.3,22.71,11.55)])
A(cmota_gb_rp, npc, 8.7, -17.16, 1.73, 0.37, 4, 2, 2.29, 10.55)
A(cmota_gb_rp, npc, 9.455, -5.02, 0.37, 0.37, 8, 1, 0.96, 0)
R(cmota_gb_rp, npc, [(2.485,-11.58,5.805,-11.21), (20.19,-11.58,23.51,-11.21), (8.495,-1.89,8.865,-1.52), (17.135,-1.89,17.505,-1.52), (2.485,-1.03,5.805,-0.66), (20.19,-1.03,23.51,-0.66), (3.67,0.92,22.33,1.29), (3.67,11.56,10.53,11.93), (15.47,11.56,22.33,11.93)])
R(cmota_gb_rp, cap2m, [(24.15,0.65,27.85,13.85)])
R(cmota_gb_rp, lvtn, [(8.185,-4.68,17.815,-1.82)])
cmota_gb_rp.add(gdstk.Reference(sky130_fd_pr__res_high_p, (26.21,-5.33), x_reflection=True))
cmota_gb_rp.add(gdstk.Label('VLO', (6,-18.25), layer=69, texttype=16))
cmota_gb_rp.add(gdstk.Label('VREF', (8.422,-6.425), layer=68, texttype=16))
cmota_gb_rp.add(gdstk.Label('VIP', (16.35,-4.9), layer=70, texttype=16))
cmota_gb_rp.add(gdstk.Label('VIN', (9.65,-4.9), layer=70, texttype=16))
cmota_gb_rp.add(gdstk.Label('VHI', (4.04,13.75), layer=69, texttype=16))
cmota_gb_rp.add(gdstk.Label('VMN', (18.615,-0.422), layer=70, texttype=16))
cmota_gb_rp.add(gdstk.Label('VOP', (22.332,0.192), layer=69, texttype=16))
cmota_gb_rp.add(gdstk.Label('COM', (13.017,-5.52), layer=69, texttype=16))
cmota_gb_rp.add(gdstk.Label('DN', (10.69,-1.44), layer=69, texttype=16))
cmota_gb_rp.add(gdstk.Label('DP', (14.04,-1.44), layer=69, texttype=16))

cmota_gb_rp_gp = lib.new_cell('cmota_gb_rp_gp')
R(cmota_gb_rp_gp, met1_pin, [(-18.845,-35.42,-18.645,-35.22), (-18.505,-35.42,-18.305,-35.22)])
R(cmota_gb_rp_gp, met1, [(-18.845,-35.42,-18.645,-34.42), (-18.505,-35.42,-18.305,-34.42), (-5.71,-22.55,-5.39,-22.15)])
R(cmota_gb_rp_gp, via, [(-5.625,-22.425,-5.475,-22.275)])
R(cmota_gb_rp_gp, met2_pin, [(-18,-35.42,-17.6,-35.02), (8.41,-15.93,9.01,-15.67)])
R(cmota_gb_rp_gp, met2, [(-13,-39,-6,-35), (3,-39,10,-35), (-18,-35.42,-17.6,-34.145), (-14.1,-35,-8,-33.5), (6,-35,10,-30), (-12.2,-33.5,-8,-29), (8,-30,10,-29), (-7,-22.55,-5.39,-22.15), (8.41,-15.93,9.01,-15.9), (8.4,-15.9,9.01,-15.7), (8.41,-15.7,9.01,-15.67), (-10,-3,7,0.5)])
A(cmota_gb_rp_gp, via2, -12.4, -38.3, 0.2, 0.2, 15, 7, 0.4, 0.4)
A(cmota_gb_rp_gp, via2, 3.6, -38.3, 0.2, 0.2, 15, 7, 0.4, 0.4)
A(cmota_gb_rp_gp, via2, -9.4, -2.35, 0.2, 0.2, 40, 6, 0.4, 0.4)
R(cmota_gb_rp_gp, via2, [(-6.85,-22.45,-6.65,-22.25), (-6.45,-22.45,-6.25,-22.25)])
R(cmota_gb_rp_gp, met3_pin, [(-10.4,-28.9,-10.1,-28.6), (-3.3,-21,-3.1,-20.9), (0.6,-21,0.8,-20.9)])
R(cmota_gb_rp_gp, met3, [(-35,-39,-21,-1), (-13,-39,-6,-35), (3,-39,10,-35), (-12,-30,-6.1,-28.5), (-16,-29,-15,-28), (-13,-28.5,-10.5,-27.5), (-7,-28.5,-6.1,-22.15), (-3.3,-21,-3.1,-20.9), (0.6,-21,0.8,-20.9), (-10,-3,7,0.5)])
A(cmota_gb_rp_gp, via3, -34.3, -38.3, 0.2, 0.2, 32, 7, 0.4, 0.4)
A(cmota_gb_rp_gp, via3, -12.4, -38.3, 0.2, 0.2, 15, 7, 0.4, 0.4)
A(cmota_gb_rp_gp, via3, 3.6, -38.3, 0.2, 0.2, 15, 7, 0.4, 0.4)
A(cmota_gb_rp_gp, via3, -34.1, -32.1, 0.2, 0.2, 31, 76, 0.4, 0.4)
A(cmota_gb_rp_gp, via3, -9.4, -2.35, 0.2, 0.2, 40, 6, 0.4, 0.4)
R(cmota_gb_rp_gp, met4_pin, [(-17.2,-39,-16.3,-36.5), (-19.1,1.6,-17.2,3)])
R(cmota_gb_rp_gp, met4, [(-35,-39,10,-36.5), (-35,-36.5,-21,-35), (-13.7,-36.5,10,-35), (-13.7,-35,-12.505,-34.16), (-35,-33,-21,-1), (-10,-3,7,0.5), (-34,-1,-22,0.5), (-34,0.5,7,3)])
A(cmota_gb_rp_gp, via4, -34, -38.2, 0.8, 0.8, 8, 2, 1.6, 1.6)
A(cmota_gb_rp_gp, via4, -34, -31.8, 0.8, 0.8, 8, 19, 1.6, 1.6)
R(cmota_gb_rp_gp, met5, [(-35,-39,-21,-1)])
R(cmota_gb_rp_gp, capm, [(-34.5,-32.5,-21.5,-1.5)])
R(cmota_gb_rp_gp, cap2m, [(-34.5,-32.5,-21.5,-1.5)])
cmota_gb_rp_gp.add(gdstk.Reference(gated_iref, (-18.5,-39.74), rotation=pi/2, x_reflection=True))
cmota_gb_rp_gp.add(gdstk.Reference(cmota_gb_rp, (-13.99,-16)))
cmota_gb_rp_gp.add(gdstk.Label('VIN', (-3.2,-20.95), layer=70, texttype=16))
cmota_gb_rp_gp.add(gdstk.Label('VIP', (0.7,-20.95), layer=70, texttype=16))
cmota_gb_rp_gp.add(gdstk.Label('VHI', (-18.15,2.3), layer=71, texttype=16))
cmota_gb_rp_gp.add(gdstk.Label('VLO', (-16.75,-37.75), layer=71, texttype=16))
cmota_gb_rp_gp.add(gdstk.Label('SBAR', (-18.405,-35.32), layer=68, texttype=16))
cmota_gb_rp_gp.add(gdstk.Label('S', (-18.745,-35.32), layer=68, texttype=16))
cmota_gb_rp_gp.add(gdstk.Label('VREF', (-17.8,-35.22), layer=69, texttype=16))
cmota_gb_rp_gp.add(gdstk.Label('VREF_GATED', (-10.25,-28.75), layer=70, texttype=16))
cmota_gb_rp_gp.add(gdstk.Label('VOP', (8.71,-15.8), layer=69, texttype=16))

lib.write_gds('cmota_gb_rp_gp.gds')
